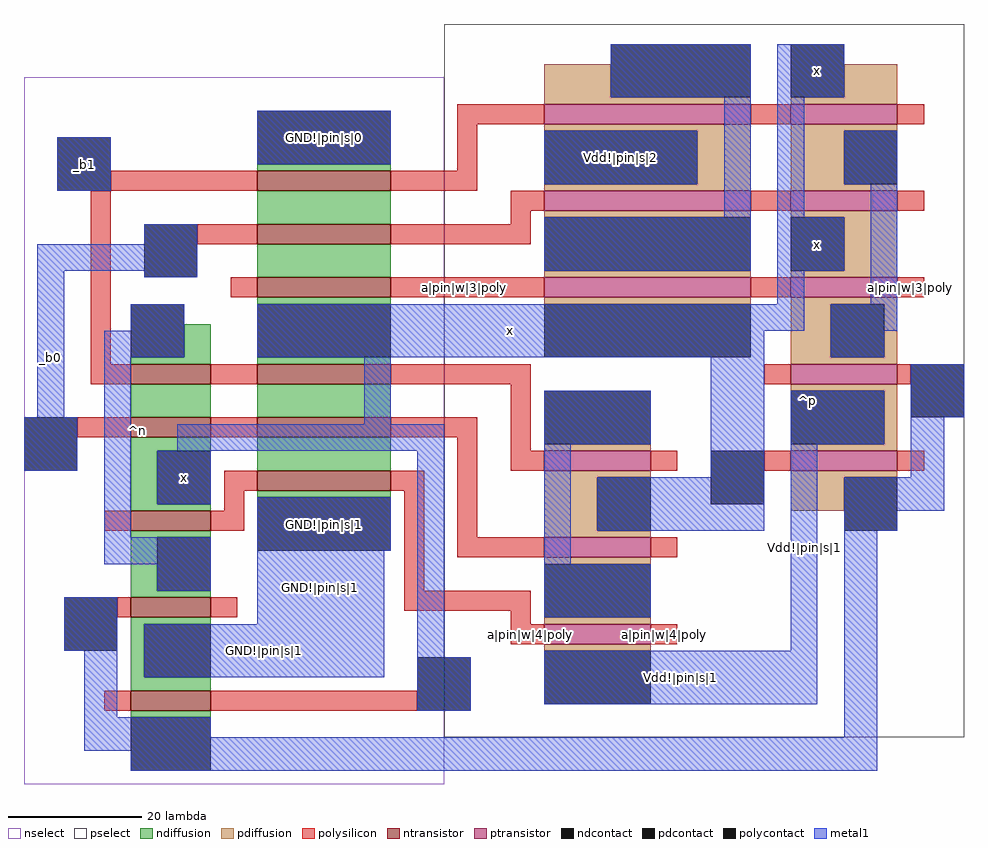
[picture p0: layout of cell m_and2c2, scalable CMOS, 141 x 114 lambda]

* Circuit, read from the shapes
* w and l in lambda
.subckt m_and2c2 GND!|pin|s|0 GND!|pin|s|1 Vdd!|pin|s|1 Vdd!|pin|s|2 _b0 _b1 a|pin|w|3|poly a|pin|w|4|poly x
M1 GND!|pin|s|1 x n1 VSUBS nfet w=12 l=3
M2 n2 n1 GND!|pin|s|1 VSUBS nfet w=12 l=3
M3 x a|pin|w|4|poly n2 VSUBS nfet w=12 l=3
M4 n3 _b0 x VSUBS nfet w=12 l=3
M5 n2 _b1 n3 VSUBS nfet w=12 l=3
M6 n4 a|pin|w|4|poly GND!|pin|s|1 VSUBS nfet w=20 l=3
M7 n5 _b0 n4 VSUBS nfet w=20 l=3
M8 x _b1 n5 VSUBS nfet w=20 l=3
M9 n6 a|pin|w|3|poly x VSUBS nfet w=20 l=3
M10 n7 _b0 n6 VSUBS nfet w=20 l=3
M11 GND!|pin|s|0 _b1 n7 VSUBS nfet w=20 l=3
M12 n8 a|pin|w|4|poly Vdd!|pin|s|1 NWELL pfet w=16 l=3
M13 x _b0 n8 NWELL pfet w=16 l=3
M14 n8 _b1 x NWELL pfet w=16 l=3
M15 n9 a|pin|w|3|poly x NWELL pfet w=31 l=3
M16 Vdd!|pin|s|2 _b0 n9 NWELL pfet w=31 l=3
M17 n9 _b1 Vdd!|pin|s|2 NWELL pfet w=31 l=3
M18 Vdd!|pin|s|1 x n1 NWELL pfet w=16 l=3
M19 n10 n1 Vdd!|pin|s|1 NWELL pfet w=16 l=3
M20 x a|pin|w|3|poly n10 NWELL pfet w=16 l=3
M21 n10 _b0 x NWELL pfet w=16 l=3
M22 x _b1 n10 NWELL pfet w=16 l=3
.ends

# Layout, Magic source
magic
tech scmos
<< nselect >>
rect -63 28 0 134
<< pselect >>
rect 0 35 78 142
<< ndiffusion >>
rect -28 120 -8 121
rect -28 112 -8 117
rect -28 104 -8 109
rect -28 100 -8 101
rect -39 92 -35 97
rect -47 91 -35 92
rect -28 91 -8 92
rect -47 83 -35 88
rect -28 83 -8 88
rect -47 78 -35 80
rect -47 70 -43 78
rect -28 75 -8 80
rect -47 69 -35 70
rect -28 71 -8 72
rect -47 65 -35 66
rect -47 57 -43 65
rect -47 56 -35 57
rect -47 52 -35 53
rect -47 44 -45 52
rect -47 42 -35 44
rect -47 38 -35 39
<< pdiffusion >>
rect 15 131 25 136
rect 15 130 46 131
rect 60 131 68 136
rect 52 130 68 131
rect 15 126 46 127
rect 38 118 46 126
rect 15 117 46 118
rect 52 126 68 127
rect 52 118 60 126
rect 52 117 68 118
rect 15 113 46 114
rect 15 104 46 105
rect 52 113 68 114
rect 60 105 68 113
rect 52 104 68 105
rect 15 100 46 101
rect 52 100 68 101
rect 52 92 58 100
rect 66 92 68 100
rect 52 91 68 92
rect 52 87 68 88
rect 15 78 31 79
rect 66 79 68 87
rect 52 78 68 79
rect 15 74 31 75
rect 15 66 23 74
rect 52 74 68 75
rect 52 69 60 74
rect 15 65 31 66
rect 15 61 31 62
rect 15 52 31 53
rect 15 48 31 49
<< ntransistor >>
rect -28 117 -8 120
rect -28 109 -8 112
rect -28 101 -8 104
rect -47 88 -35 91
rect -28 88 -8 91
rect -47 80 -35 83
rect -28 80 -8 83
rect -28 72 -8 75
rect -47 66 -35 69
rect -47 53 -35 56
rect -47 39 -35 42
<< ptransistor >>
rect 15 127 46 130
rect 52 127 68 130
rect 15 114 46 117
rect 52 114 68 117
rect 15 101 46 104
rect 52 101 68 104
rect 52 88 68 91
rect 15 75 31 78
rect 52 75 68 78
rect 15 62 31 65
rect 15 49 31 52
<< polysilicon >>
rect 2 127 15 130
rect 46 127 52 130
rect 68 127 72 130
rect 2 120 5 127
rect -50 117 -28 120
rect -8 117 5 120
rect -53 91 -50 117
rect 10 114 15 117
rect 46 114 52 117
rect 68 114 72 117
rect 10 112 13 114
rect -37 109 -28 112
rect -8 109 13 112
rect -32 101 -28 104
rect -8 101 15 104
rect 46 101 52 104
rect 68 101 72 104
rect -53 88 -47 91
rect -35 88 -28 91
rect -8 88 13 91
rect 48 88 52 91
rect 68 88 70 91
rect -55 80 -47 83
rect -35 80 -28 83
rect -8 80 5 83
rect -33 72 -28 75
rect -8 72 -3 75
rect -33 69 -30 72
rect -51 66 -47 69
rect -35 66 -30 69
rect -6 57 -3 72
rect 2 65 5 80
rect 10 78 13 88
rect 10 75 15 78
rect 31 75 35 78
rect 48 75 52 78
rect 68 75 72 78
rect 2 62 15 65
rect 31 62 35 65
rect -49 53 -47 56
rect -35 53 -31 56
rect -6 54 13 57
rect 10 52 13 54
rect 10 49 15 52
rect 31 49 35 52
rect -51 39 -47 42
rect -35 39 -4 42
<< ndcontact >>
rect -28 121 -8 129
rect -47 92 -39 100
rect -28 92 -8 100
rect -43 70 -35 78
rect -43 57 -35 65
rect -28 63 -8 71
rect -45 44 -35 52
rect -47 30 -35 38
<< pdcontact >>
rect 25 131 46 139
rect 52 131 60 139
rect 15 118 38 126
rect 60 118 68 126
rect 15 105 46 113
rect 52 105 60 113
rect 15 92 46 100
rect 58 92 66 100
rect 15 79 31 87
rect 52 79 66 87
rect 23 66 31 74
rect 60 66 68 74
rect 15 53 31 61
rect 15 40 31 48
<< polycontact >>
rect -58 117 -50 125
rect -45 104 -37 112
rect -63 75 -55 83
rect 70 83 78 91
rect 40 70 48 78
rect -57 48 -49 56
rect -4 39 4 47
<< metal1 >>
rect 25 131 46 139
rect -58 117 -50 125
rect -28 121 -8 129
rect 15 118 38 126
rect 42 113 46 131
rect -45 109 -37 112
rect -61 105 -37 109
rect 15 105 46 113
rect 50 131 60 139
rect 50 113 54 131
rect 60 118 68 126
rect 50 105 60 113
rect -61 83 -57 105
rect -45 104 -37 105
rect 50 100 54 105
rect 64 100 68 118
rect -47 96 -39 100
rect -51 92 -39 96
rect -28 96 54 100
rect 58 96 68 100
rect -28 92 48 96
rect 58 92 66 96
rect -63 75 -55 83
rect -51 65 -47 92
rect -12 82 -8 92
rect -40 78 0 82
rect -43 70 -35 78
rect -51 61 -35 65
rect -43 57 -35 61
rect -28 63 -8 71
rect -57 48 -49 56
rect -28 52 -9 63
rect -54 38 -49 48
rect -45 44 -9 52
rect -4 47 0 78
rect 15 79 31 87
rect 15 61 19 79
rect 40 74 48 92
rect 23 66 48 74
rect 52 79 66 87
rect 70 83 78 91
rect 15 53 31 61
rect 52 48 56 79
rect 70 74 75 83
rect -4 39 4 47
rect 15 40 56 48
rect 60 69 75 74
rect 60 66 68 69
rect -54 35 -35 38
rect 60 35 65 66
rect -54 33 65 35
rect -47 30 65 33
<< labels >>
rlabel metal1 56 109 56 109 1 x
rlabel metal1 56 135 56 135 5 x
rlabel metal1 -39 74 -39 74 1 x
rlabel metal1 -58 117 -50 125 1 _b1
rlabel metal1 -61 75 -57 109 3 _b0
rlabel space -64 28 -28 134 7 ^n
rlabel space 30 29 79 142 3 ^p
rlabel metal1 52 40 56 87 1 Vdd!|pin|s|1
rlabel polysilicon 68 101 72 104 1 a|pin|w|3|poly
rlabel polysilicon 1 101 5 104 1 a|pin|w|3|poly
rlabel polysilicon 31 49 35 52 1 a|pin|w|4|poly
rlabel polysilicon 11 49 15 52 1 a|pin|w|4|poly
rlabel metal1 -28 121 -8 129 1 GND!|pin|s|0
rlabel metal1 -28 63 -8 71 1 GND!|pin|s|1
rlabel metal1 -45 44 -9 52 1 GND!|pin|s|1
rlabel metal1 -28 44 -9 71 1 GND!|pin|s|1
rlabel metal1 15 118 38 126 1 Vdd!|pin|s|2
rlabel metal1 15 40 56 48 1 Vdd!|pin|s|1
rlabel metal1 -28 92 48 100 1 x
<< end >>
